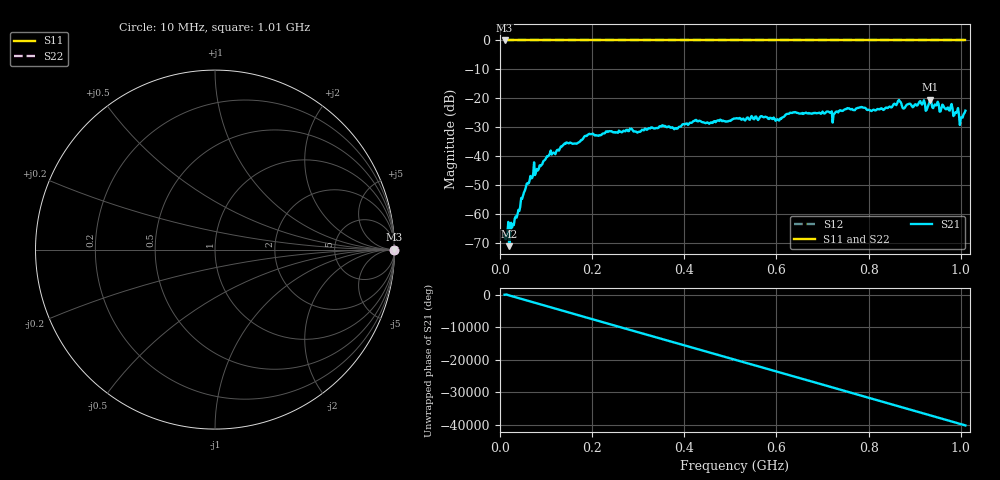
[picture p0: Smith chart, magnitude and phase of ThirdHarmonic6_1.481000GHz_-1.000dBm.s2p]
! 8/16/2025 5:18:51 PM
! C:\ANRITSUVNA\TEMP\TEMP.S2P
! CHANNEL.1
! TR.MEASUREMENT
! RAW.DATA
! RF.CORRECTION.OFF
! AVERAGING.OFF
! IF.BANDWIDTH: 5KHZ
! SWEEPTYPE:  FREQ.SWEEP(Linear)
! Reference Plane Port Info
! PORT:  PORT1  PORT2
! DISTANCE:  0  m  0  m
! TIME:  0  s  0  s
! PHASE.OFFSET:  0  deg.  0  deg.
! LOSS:  0  dB  0  dB
! REF.LOSS:  0  dB  0  dB
! REF.FREQ:  0  Hz  0  Hz
! Power Info
! POWER:  -20  dBm  -20  dBm
! EFF.POWER:  -20  dBm  -20  dBm
! SOURCE.ATTEN:  0  dB  0  dB
! TEST.ATTEN:  0  dB  0  dB
# GHZ S RI R 50.0
! FREQ.GHZ  S11RE  S11IM  S21RE  S21IM  S12RE  S12IM  S22RE  S22IM
!; PortSelection: Port_12
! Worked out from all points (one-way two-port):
!   501 points, 10 MHz to 1.01 GHz, reference 50 ohm
!   highest |S21| = -20.51 dB at 934 MHz (marker M1); lowest = -71.2 dB at 20 MHz (marker M2)
!   lowest |S11| = 0.0 dB at 10 MHz (marker M3)
!   |S11| at or under -10 dB: nowhere
!   |S22| runs from 0.0 to 0.0 dB; largest |S21 - S12| = 1.1
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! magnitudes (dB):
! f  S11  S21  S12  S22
! 10 MHz  0.0  -67.3  0.0  0.0
! 20 MHz  0.0  -71.2  0.0  0.0
! 24 MHz  0.0  -63.1  0.0  0.0
! 54 MHz  0.0  -51.9  0.0  0.0
! 70 MHz  0.0  -47.6  0.0  0.0
! 106 MHz  0.0  -39.8  0.0  0.0
! 142 MHz  0.0  -35.8  0.0  0.0
! 178 MHz  0.0  -34.4  0.0  0.0
! 196 MHz  0.0  -32.4  0.0  0.0
! 344 MHz  0.0  -30.2  0.0  0.0
! 510 MHz  0.0  -27.0  0.0  0.0
! 602 MHz  0.0  -27.2  0.0  0.0
! 634 MHz  0.0  -25.1  0.0  0.0
! 678 MHz  0.0  -25.3  0.0  0.0
! 844 MHz  0.0  -23.0  0.0  0.0
! 866 MHz  0.0  -20.6  0.0  0.0
! 876 MHz  0.0  -23.6  0.0  0.0
! 928 MHz  0.0  -23.0  0.0  0.0
! 934 MHz  0.0  -20.5  0.0  0.0
! 978 MHz  0.0  -22.9  0.0  0.0
! 1 GHz  0.0  -26.9  0.0  0.0
! 1.01 GHz  0.0  -24.3  0.0  0.0
